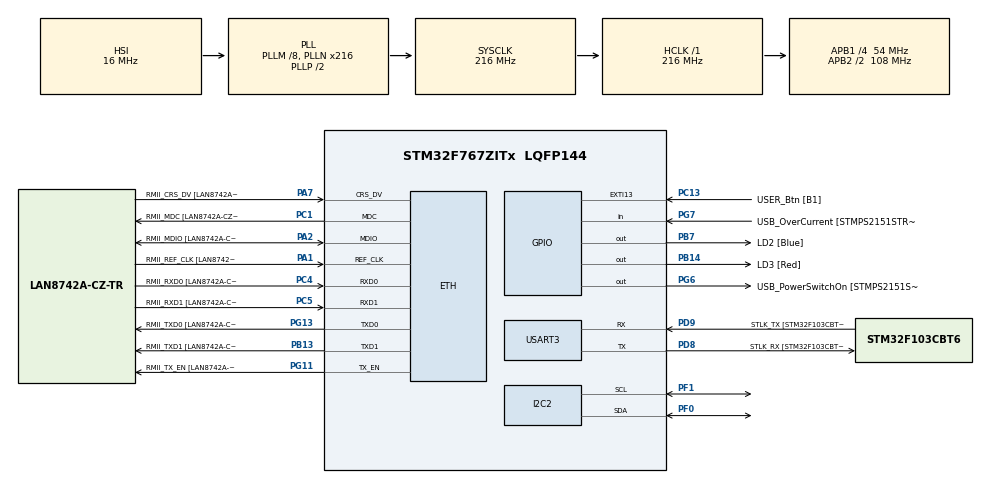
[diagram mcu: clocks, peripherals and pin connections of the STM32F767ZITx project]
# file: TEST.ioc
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CORTEX_M7.CPU_DCache=Disabled
CORTEX_M7.CPU_ICache=Disabled
CRC.InputDataFormat=CRC_INPUTDATA_FORMAT_WORDS
ETH.MediaInterface=ETH_MEDIA_INTERFACE_RMII
ETH.PhyAddress=0
FREERTOS.Tasks01=defaultTask,0,128,StartDefaultTask,Default,NULL,Dynamic,NULL,NULL;myTask02,-3,180,StartTask02,Default,NULL,Dynamic,NULL,NULL
I2C2.Timing=0x20404768
LWIP.Version=v2.0.3_Cube
Mcu.Family=STM32F7
Mcu.Name=STM32F767ZITx
Mcu.Package=LQFP144
NVIC.ETH_IRQn=true\:5\:0\:false\:false\:true\:true\:true\:true
NVIC.ETH_WKUP_IRQn=true\:5\:0\:false\:false\:true\:true\:true\:true
NVIC.EXTI15_10_IRQn=true\:5\:0\:false\:false\:true\:true\:true\:true
NVIC.FLASH_IRQn=true\:5\:0\:false\:false\:true\:true\:true\:true
NVIC.I2C2_ER_IRQn=true\:5\:0\:false\:false\:true\:true\:true\:true
NVIC.I2C2_EV_IRQn=true\:5\:0\:false\:false\:true\:true\:true\:true
NVIC.PriorityGroup=NVIC_PRIORITYGROUP_4
NVIC.TIM1_UP_TIM10_IRQn=true\:0\:0\:false\:false\:true\:false\:false\:true
NVIC.TIM6_DAC_IRQn=true\:5\:0\:false\:false\:true\:true\:true\:true
NVIC.TIM7_IRQn=true\:5\:0\:false\:false\:true\:true\:true\:true
NVIC.TimeBase=TIM1_UP_TIM10_IRQn
NVIC.TimeBaseIP=TIM1
NVIC.USART3_IRQn=true\:5\:0\:false\:false\:true\:true\:true\:true
NVIC.WWDG_IRQn=true\:5\:0\:false\:false\:true\:true\:true\:true
PA1.GPIO_Label=RMII_REF_CLK [LAN8742A-CZ-TR_REFCLK0]
PA1.Mode=RMII
PA1.Signal=ETH_REF_CLK
PA10.GPIO_Label=USB_ID
PA10.Signal=USB_OTG_FS_ID
PA11.GPIO_Label=USB_DM
PA11.Signal=USB_OTG_FS_DM
PA12.GPIO_Label=USB_DP
PA12.Signal=USB_OTG_FS_DP
PA13.GPIO_Label=TMS
PA13.Mode=Serial_Wire
PA13.Signal=SYS_JTMS-SWDIO
PA14.GPIO_Label=TCK
PA14.Mode=Serial_Wire
PA14.Signal=SYS_JTCK-SWCLK
PA2.GPIO_Label=RMII_MDIO [LAN8742A-CZ-TR_MDIO]
PA2.Mode=RMII
PA2.Signal=ETH_MDIO
PA7.GPIO_Label=RMII_CRS_DV [LAN8742A-CZ-TR_CRS_DV]
PA7.Mode=RMII
PA7.Signal=ETH_CRS_DV
PA8.GPIO_Label=USB_SOF [TP1]
PA8.Signal=USB_OTG_FS_SOF
PA9.GPIO_Label=USB_VBUS
PA9.Signal=USB_OTG_FS_VBUS
PB13.GPIO_Label=RMII_TXD1 [LAN8742A-CZ-TR_TXD1]
PB13.Mode=RMII
PB13.Signal=ETH_TXD1
PB14.GPIO_Label=LD3 [Red]
PB14.Signal=GPIO_Output
PB3.GPIO_Label=SW0
PB3.Signal=SYS_JTDO-SWO
PB7.GPIO_Label=LD2 [Blue]
PB7.Signal=GPIO_Output
PC1.GPIO_Label=RMII_MDC [LAN8742A-CZ-TR_MDC]
PC1.Mode=RMII
PC1.Signal=ETH_MDC
PC13.GPIO_Label=USER_Btn [B1]
PC13.Signal=GPXTI13
PC14/OSC32_IN.Signal=RCC_OSC32_IN
PC15/OSC32_OUT.Signal=RCC_OSC32_OUT
PC4.GPIO_Label=RMII_RXD0 [LAN8742A-CZ-TR_RXD0]
PC4.Mode=RMII
PC4.Signal=ETH_RXD0
PC5.GPIO_Label=RMII_RXD1 [LAN8742A-CZ-TR_RXD1]
PC5.Mode=RMII
PC5.Signal=ETH_RXD1
PD8.GPIO_Label=STLK_RX [STM32F103CBT6_PA3]
PD8.Mode=Asynchronous
PD8.Signal=USART3_TX
PD9.GPIO_Label=STLK_TX [STM32F103CBT6_PA2]
PD9.Mode=Asynchronous
PD9.Signal=USART3_RX
PF0.Mode=I2C
PF0.Signal=I2C2_SDA
PF1.Mode=I2C
PF1.Signal=I2C2_SCL
PG11.GPIO_Label=RMII_TX_EN [LAN8742A-CZ-TR_TXEN]
PG11.Mode=RMII
PG11.Signal=ETH_TX_EN
PG13.GPIO_Label=RMII_TXD0 [LAN8742A-CZ-TR_TXD0]
PG13.Mode=RMII
PG13.Signal=ETH_TXD0
PG6.GPIO_Label=USB_PowerSwitchOn [STMPS2151STR_EN]
PG6.Signal=GPIO_Output
PG7.GPIO_Label=USB_OverCurrent [STMPS2151STR_FAULT]
PG7.Signal=GPIO_Input
PH0/OSC_IN.GPIO_Label=MCO [STM32F103CBT6_PA8]
PH0/OSC_IN.Mode=HSE-External-Oscillator
PH0/OSC_IN.Signal=RCC_OSC_IN
PH1/OSC_OUT.Mode=HSE-External-Oscillator
PH1/OSC_OUT.Signal=RCC_OSC_OUT
ProjectManager.HeapSize=0x200
ProjectManager.StackSize=0x400
ProjectManager.TargetToolchain=Makefile
RCC.48MHZClocksFreq_Value=24000000
RCC.AHBFreq_Value=216000000
RCC.APB1CLKDivider=RCC_HCLK_DIV4
RCC.APB1Freq_Value=54000000
RCC.APB1TimFreq_Value=108000000
RCC.APB2CLKDivider=RCC_HCLK_DIV2
RCC.APB2Freq_Value=108000000
RCC.APB2TimFreq_Value=216000000
RCC.CortexFreq_Value=216000000
RCC.HCLKFreq_Value=216000000
RCC.HSE_VALUE=16000000
RCC.HSI_VALUE=16000000
RCC.LSE_VALUE=32768
RCC.PLLM=8
RCC.PLLMUL=RCC_PLL_MUL9
RCC.PLLN=216
RCC.PRESCALERUSB=RCC_USBCLKSOURCE_PLL_DIV1_5
RCC.SYSCLKFreq_VALUE=216000000
RCC.SYSCLKSource=RCC_SYSCLKSOURCE_PLLCLK
RCC.SYSCLKSourceVirtual=RCC_SYSCLKSOURCE_PLLCLK
RCC.USBFreq_Value=216000000
RCC.VCOOutputFreq_Value=432000000
RTC.Month=RTC_MONTH_JUNE
RTC.WeekDay=RTC_WEEKDAY_FRIDAY
TIM6.Period=2000
TIM6.Prescaler=53999
TIM6.TIM_MasterOutputTrigger=TIM_TRGO_UPDATE
TIM7.Period=330
TIM7.Prescaler=107
TIM7.TIM_MasterOutputTrigger=TIM_TRGO_UPDATE
USART3.VirtualMode-Asynchronous=VM_ASYNC
VP_CRC_VS_CRC.Mode=CRC_Activate
VP_FREERTOS_VS_CMSIS_V1.Mode=CMSIS_V1
VP_LWIP_VS_Enabled.Mode=Enabled
VP_RTC_VS_RTC_Activate.Mode=RTC_Enabled
VP_RTC_VS_RTC_Calendar.Mode=RTC_Calendar
VP_SYS_VS_tim1.Mode=TIM1
VP_TIM6_VS_ClockSourceINT.Mode=Enable_Timer
VP_TIM7_VS_ClockSourceINT.Mode=Enable_Timer
VP_TIM7_VS_OPM.Mode=OPM_bit
VP_WWDG_VS_WWDG.Mode=WWDG_Activate
WWDG.Counter=127
WWDG.EWIMode=WWDG_EWI_ENABLE
WWDG.Window=125
board=NUCLEO-F767ZI

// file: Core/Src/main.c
/* USER CODE BEGIN Header */
/**
  ******************************************************************************
  * @file           : main.c
  * @brief          : Main program body
  ******************************************************************************
  * @attention
  *
  * <h2><center>&copy; Copyright (c) 2019 STMicroelectronics.
  * All rights reserved.</center></h2>
  *
  * This software component is licensed by ST under Ultimate Liberty license
  * SLA0044, the "License"; You may not use this file except in compliance with
  * the License. You may obtain a copy of the License at:
  *                             www.st.com/SLA0044
  *
  ******************************************************************************
  */
/* USER CODE END Header */

#include "main.h"
#include "cmsis_os.h"
#include "crc.h"
#include "i2c.h"
#include "lwip.h"
#include "rtc.h"
#include "tim.h"
#include "usart.h"
#include "wwdg.h"
#include "gpio.h"

/* USER CODE BEGIN Includes */
#include <string.h>
#include "stm32f7xx_hal.h"
#include <stm32f767xx.h>
#include "lcd2004a.h"
/* USER CODE END Includes */

/* USER CODE BEGIN PD */
#define BUFFER_SIZE    114
/* USER CODE END PD */

/* USER CODE BEGIN PV */
__IO uint32_t uwCRCValue = 0;
static const uint32_t aDataBuffer[BUFFER_SIZE] =
{
  0x00001021, 0x20423063, 0x408450a5, 0x60c670e7, 0x9129a14a, 0xb16bc18c,
  0xd1ade1ce, 0xf1ef1231, 0x32732252, 0x52b54294, 0x72f762d6, 0x93398318,
  0xa35ad3bd, 0xc39cf3ff, 0xe3de2462, 0x34430420, 0x64e674c7, 0x44a45485,
  0xa56ab54b, 0x85289509, 0xf5cfc5ac, 0xd58d3653, 0x26721611, 0x063076d7,
  0x569546b4, 0xb75ba77a, 0x97198738, 0xf7dfe7fe, 0xc7bc48c4, 0x58e56886,
  0x78a70840, 0x18612802, 0xc9ccd9ed, 0xe98ef9af, 0x89489969, 0xa90ab92b,
  0x4ad47ab7, 0x6a961a71, 0x0a503a33, 0x2a12dbfd, 0xfbbfeb9e, 0x9b798b58,
  0xbb3bab1a, 0x6ca67c87, 0x5cc52c22, 0x3c030c60, 0x1c41edae, 0xfd8fcdec,
  0xad2abd0b, 0x8d689d49, 0x7e976eb6, 0x5ed54ef4, 0x2e321e51, 0x0e70ff9f,
  0xefbedfdd, 0xcffcbf1b, 0x9f598f78, 0x918881a9, 0xb1caa1eb, 0xd10cc12d,
  0xe16f1080, 0x00a130c2, 0x20e35004, 0x40257046, 0x83b99398, 0xa3fbb3da,
  0xc33dd31c, 0xe37ff35e, 0x129022f3, 0x32d24235, 0x52146277, 0x7256b5ea,
  0x95a88589, 0xf56ee54f, 0xd52cc50d, 0x34e224c3, 0x04817466, 0x64475424,
  0x4405a7db, 0xb7fa8799, 0xe75ff77e, 0xc71dd73c, 0x26d336f2, 0x069116b0,
  0x76764615, 0x5634d94c, 0xc96df90e, 0xe92f99c8, 0xb98aa9ab, 0x58444865,
  0x78066827, 0x18c008e1, 0x28a3cb7d, 0xdb5ceb3f, 0xfb1e8bf9, 0x9bd8abbb,
  0x4a755a54, 0x6a377a16, 0x0af11ad0, 0x2ab33a92, 0xed0fdd6c, 0xcd4dbdaa,
  0xad8b9de8, 0x8dc97c26, 0x5c644c45, 0x3ca22c83, 0x1ce00cc1, 0xef1fff3e,
  0xdf7caf9b, 0xbfba8fd9, 0x9ff86e17, 0x7e364e55, 0x2e933eb2, 0x0ed11ef0
};
uint32_t uwExpectedCRCValue = 0x379E9F06;
extern struct communicationParameters LCD_1;
/* USER CODE END PV */

void SystemClock_Config(void);
void MX_FREERTOS_Init(void);
/* USER CODE BEGIN PFP */

#ifdef __GNUC__
#define PUTCHAR_PROTOTYPE int __io_putchar(int ch)
#else
#define PUTCHAR_PROTOTYPE int fputc(int ch, FILE *f)
#endif /* __GNUC__ */

#define __HAL_USART_GET_FLAG(__HANDLE__, __FLAG__) (((__HANDLE__)->ISR & (__FLAG__)) == (__FLAG__))

/* USER CODE END PFP */

int main(void)
{

  /* MCU Configuration--------------------------------------------------------*/

  /* Reset of all peripherals, Initializes the Flash interface and the Systick. */
  HAL_Init();

  /* Configure the system clock */
  SystemClock_Config();

  /* Initialize all configured peripherals */
  MX_GPIO_Init();
  MX_CRC_Init();
  MX_USART3_UART_Init();
  MX_TIM6_Init();
  MX_TIM7_Init();
  MX_WWDG_Init();
  MX_I2C2_Init();
  MX_RTC_Init();
  /* USER CODE BEGIN 2 */
  HAL_TIM_Base_Start(&htim6);
  HAL_TIM_Base_Start_IT(&htim6);
  HAL_TIM_Base_Start_IT(&htim7);

  printf("\n\rRUN \n\r");
  uwCRCValue = HAL_CRC_Calculate(&hcrc, (uint32_t *)aDataBuffer, BUFFER_SIZE);
  if (uwCRCValue == uwExpectedCRCValue){
      printf("\n\rCRC is OK\n\r");
      printf("%lx\n", uwCRCValue);
  }
  else{
      printf("\n\rFAIL\n\r");
      printf("%lx\n", uwCRCValue);
  }

  setCurrentWaitTime(&huart3);
  printf("Wait time = %d\n\r", currentWaitTime);

  LCD_ini(LCD_1);

  HAL_UART_Receive_IT(&huart3, &modbusBuffer, 1);

  viewLCD2004a();
  /* USER CODE END 2 */

  /* Call init function for freertos objects (in freertos.c) */
  MX_FREERTOS_Init();

  /* Start scheduler */
  osKernelStart();

  /* We should never get here as control is now taken by the scheduler */

  /* Infinite loop */
  while (1)
  {

  }
}

void SystemClock_Config(void)
{
  RCC_OscInitTypeDef RCC_OscInitStruct = {0};
  RCC_ClkInitTypeDef RCC_ClkInitStruct = {0};
  RCC_PeriphCLKInitTypeDef PeriphClkInitStruct = {0};

  /** Configure the main internal regulator output voltage
  */
  __HAL_RCC_PWR_CLK_ENABLE();
  __HAL_PWR_VOLTAGESCALING_CONFIG(PWR_REGULATOR_VOLTAGE_SCALE1);
  /** Initializes the CPU, AHB and APB busses clocks
  */
  RCC_OscInitStruct.OscillatorType = RCC_OSCILLATORTYPE_HSI|RCC_OSCILLATORTYPE_LSI;
  RCC_OscInitStruct.HSIState = RCC_HSI_ON;
  RCC_OscInitStruct.HSICalibrationValue = RCC_HSICALIBRATION_DEFAULT;
  RCC_OscInitStruct.LSIState = RCC_LSI_ON;
  RCC_OscInitStruct.PLL.PLLState = RCC_PLL_ON;
  RCC_OscInitStruct.PLL.PLLSource = RCC_PLLSOURCE_HSI;
  RCC_OscInitStruct.PLL.PLLM = 8;
  RCC_OscInitStruct.PLL.PLLN = 216;
  RCC_OscInitStruct.PLL.PLLP = RCC_PLLP_DIV2;
  RCC_OscInitStruct.PLL.PLLQ = 2;
  if (HAL_RCC_OscConfig(&RCC_OscInitStruct) != HAL_OK)
  {
    Error_Handler();
  }
  /** Activate the Over-Drive mode
  */
  if (HAL_PWREx_EnableOverDrive() != HAL_OK)
  {
    Error_Handler();
  }
  /** Initializes the CPU, AHB and APB busses clocks
  */
  RCC_ClkInitStruct.ClockType = RCC_CLOCKTYPE_HCLK|RCC_CLOCKTYPE_SYSCLK
                              |RCC_CLOCKTYPE_PCLK1|RCC_CLOCKTYPE_PCLK2;
  RCC_ClkInitStruct.SYSCLKSource = RCC_SYSCLKSOURCE_PLLCLK;
  RCC_ClkInitStruct.AHBCLKDivider = RCC_SYSCLK_DIV1;
  RCC_ClkInitStruct.APB1CLKDivider = RCC_HCLK_DIV4;
  RCC_ClkInitStruct.APB2CLKDivider = RCC_HCLK_DIV2;

  if (HAL_RCC_ClockConfig(&RCC_ClkInitStruct, FLASH_LATENCY_7) != HAL_OK)
  {
    Error_Handler();
  }
  PeriphClkInitStruct.PeriphClockSelection = RCC_PERIPHCLK_RTC|RCC_PERIPHCLK_USART3
                              |RCC_PERIPHCLK_I2C2;
  PeriphClkInitStruct.RTCClockSelection = RCC_RTCCLKSOURCE_LSI;
  PeriphClkInitStruct.Usart3ClockSelection = RCC_USART3CLKSOURCE_PCLK1;
  PeriphClkInitStruct.I2c2ClockSelection = RCC_I2C2CLKSOURCE_PCLK1;
  if (HAL_RCCEx_PeriphCLKConfig(&PeriphClkInitStruct) != HAL_OK)
  {
    Error_Handler();
  }
}

/* USER CODE BEGIN 4 */
/**
  * @brief  Retargets the C library printf function to the USART.
  * @param  None
  * @retval None
  */
PUTCHAR_PROTOTYPE
{
  HAL_UART_Transmit(&huart3, (uint8_t *)&ch, 1, 1);
  return ch;
}

void HAL_UART_RxCpltCallback(UART_HandleTypeDef *UartHandle){
    if(UartHandle->Instance == USART3) {
        HAL_TIM_Base_Stop(&htim7);
        HAL_TIM_Base_Start(&htim7);
        }
}
/* USER CODE END 4 */

void HAL_TIM_PeriodElapsedCallback(TIM_HandleTypeDef *htim)
{
  if (htim->Instance == TIM1) {
    HAL_IncTick();
  }
}

void Error_Handler(void)
{
  /* USER CODE BEGIN Error_Handler_Debug */
  /* User can add his own implementation to report the HAL error return state */
    HAL_GPIO_WritePin (GPIOB, GPIO_PIN_14, GPIO_PIN_SET);

    while (1)
    {
    }
  /* USER CODE END Error_Handler_Debug */
}

#ifdef  USE_FULL_ASSERT
/**
  * @brief  Reports the name of the source file and the source line number
  *         where the assert_param error has occurred.
  * @param  file: pointer to the source file name
  * @param  line: assert_param error line source number
  * @retval None
  */
void assert_failed(uint8_t *file, uint32_t line)
{
  /* USER CODE BEGIN 6 */
      printf("Wrong parameters value: file %s on line %d\r\n", file, line);
  /* USER CODE END 6 */
}
#endif /* USE_FULL_ASSERT */

/************************ (C) COPYRIGHT STMicroelectronics *****END OF FILE****/

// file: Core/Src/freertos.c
/* USER CODE BEGIN Header */
/**
  ******************************************************************************
  * File Name          : freertos.c
  * Description        : Code for freertos applications
  ******************************************************************************
  * @attention
  *
  * <h2><center>&copy; Copyright (c) 2019 STMicroelectronics.
  * All rights reserved.</center></h2>
  *
  * This software component is licensed by ST under Ultimate Liberty license
  * SLA0044, the "License"; You may not use this file except in compliance with
  * the License. You may obtain a copy of the License at:
  *                             www.st.com/SLA0044
  *
  ******************************************************************************
  */
/* USER CODE END Header */

#include "FreeRTOS.h"
#include "task.h"
#include "main.h"
#include "cmsis_os.h"

osThreadId defaultTaskHandle;
osThreadId myTask02Handle;

void StartDefaultTask(void const * argument);
void StartTask02(void const * argument);

extern void MX_LWIP_Init(void);
void MX_FREERTOS_Init(void); /* (MISRA C 2004 rule 8.1) */

void MX_FREERTOS_Init(void) {

  /* Create the thread(s) */
  /* definition and creation of defaultTask */
  osThreadDef(defaultTask, StartDefaultTask, osPriorityNormal, 0, 128);
  defaultTaskHandle = osThreadCreate(osThread(defaultTask), NULL);

  /* definition and creation of myTask02 */
  osThreadDef(myTask02, StartTask02, osPriorityIdle, 0, 180);
  myTask02Handle = osThreadCreate(osThread(myTask02), NULL);

}

void StartDefaultTask(void const * argument)
{
  /* init code for LWIP */
  MX_LWIP_Init();

  for(;;)
  {
    osDelay(1);
  }
}

void StartTask02(void const * argument)
{
  /* USER CODE BEGIN StartTask02 */
  /* Infinite loop */
  for(;;)
  {
      viewLCD2004a();
    osDelay(1000);
  }
  /* USER CODE END StartTask02 */
}

/************************ (C) COPYRIGHT STMicroelectronics *****END OF FILE****/
